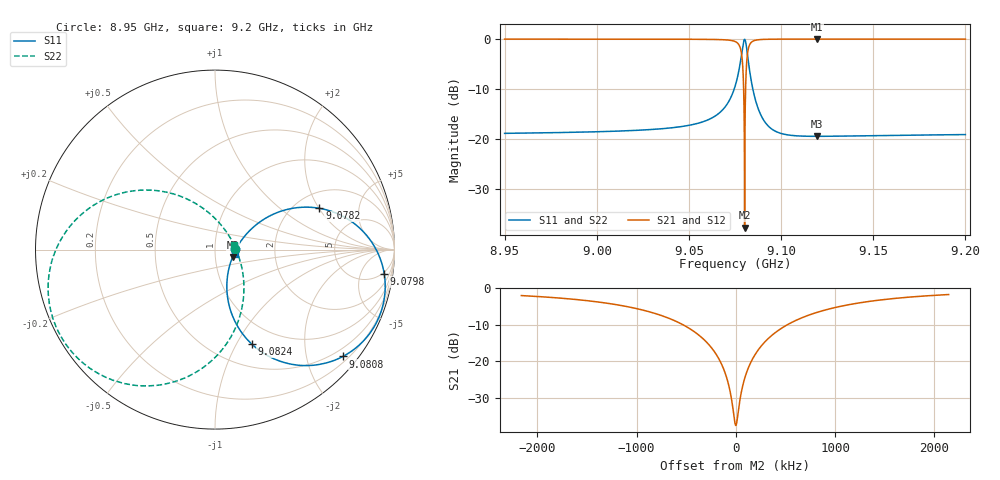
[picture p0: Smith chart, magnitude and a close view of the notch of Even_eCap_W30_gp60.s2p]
! Sonnet Data File
! From: emgraph Version : 16.52
! From Project: Resonator2_extremeCap
! Data is De-embedded
! Data File Written: 10/11/2017 17:55:29
!< HDATE 10/10/2017 20:37:37
!< MDATE 10/10/2017 20:37:37
!< PARAMS
!< Pwid1 = 2000.0
!< Pwid2 = 2000.0
!< Air_gap = 18.0
!< Width = 30.0
!< Gap = 60.0
!< END PARAMS
# GHZ S MA R 50.70000
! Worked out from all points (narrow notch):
!   1844 points, 8.95 GHz to 9.2 GHz, reference 50.7 ohm
!   highest |S21| = -0.05 dB at 9.1194 GHz (marker M1); lowest = -37.7 dB at 9.0802 GHz (marker M2)
!   notch at M2: 37.6 dB deep, 363 kHz wide at half that depth
!   lowest |S11| = -19.4 dB at 9.1194 GHz (marker M3), VSWR 1.24, Z = 61.4 - j5.28 ohm
!   |S11| at or under -10 dB: start of sweep to 9.0746 GHz; 9.0847 GHz to end of sweep
!   |S22| runs from -19.4 to -0.1 dB; largest |S21 - S12| = 0
!   S11 on the Smith chart (normalised r, x): 8.95 GHz: 1.26, +0.01; 9.0782 GHz: 2.67, +2.02; 9.0798 GHz: 4, -13; 9.0808 GHz: 0.31, -2.73; 9.0824 GHz: 0.75, -1.15; 9.2 GHz: 1.24, -0.06
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8.95  0.1141 1.7  0.9935 -88.0  0.9935 -88.0  0.1141 2.3
!< P1 F=8.95 Eeff=(6.44502592 -2.9711e-5) Z0=(50.6183818 1.16783e-4) R=0.0 C=0.0
!< P2 F=8.95 Eeff=(6.44502592 -2.9711e-5) Z0=(50.6183818 1.16783e-4) R=0.0 C=0.0
8.9918  0.1174 3.4  0.9931 -88.8  0.9931 -88.8  0.1174 -0.9
9.0334  0.1261 8.3  0.992 -90.1  0.992 -90.1  0.1261 -8.5
9.0628  0.1638 21.1  0.9864 -93.6  0.9864 -93.6  0.1637 -28.3
9.075  0.3341 31.8  0.9415 -105.0  0.9415 -105.0  0.3334 -62.2
9.078163  0.6259 21.6  0.7746 -124.8  0.7746 -124.8  0.6243 -92.2
9.079196  0.8372 6.4  0.5322 -143.0  0.5322 -143.0  0.835 -114.7
9.079776  0.9525 -8.2  0.2677 -158.3  0.2677 -158.3  0.9499 -133.7
9.08007  0.9839 -17.2  0.0954 -163.3  0.0954 -163.3  0.9811 -144.9
9.080141  0.987 -19.4  0.05208 -159.1  0.05208 -159.1  0.9843 -147.8
9.080223  0.9882 -22.1  0.0131 -83.6  0.0131 -83.6  0.9855 -151.0
9.080306  0.9868 -24.8  0.05464 -13.5  0.05464 -13.5  0.984 -154.4
9.080402  0.9818 -27.9  0.114 -9.7  0.114 -9.7  0.979 -158.2
9.080791  0.9288 -39.9  0.3408 -18.7  0.3408 -18.7  0.9261 -173.3
9.081437  0.7773 -55.5  0.6168 -35.9  0.6168 -35.9  0.775 165.8
9.082417  0.5637 -68.8  0.8209 -52.8  0.8209 -52.8  0.562 144.4
9.0856  0.2657 -75.0  0.9631 -72.4  0.9631 -72.4  0.2649 110.6
9.092009  0.1418 -58.5  0.9897 -81.2  0.9897 -81.2  0.1414 76.2
9.1168  0.1066 -24.8  0.9943 -86.6  0.9943 -86.6  0.1066 31.6
9.1194  0.1066 -23.5  0.9943 -86.8  0.9943 -86.8  0.1066 29.9
9.1584  0.1088 -14.4  0.9941 -88.3  0.9941 -88.3  0.1088 17.7
9.2  0.111 -11.6  0.9938 -89.1  0.9938 -89.1  0.111 13.3
